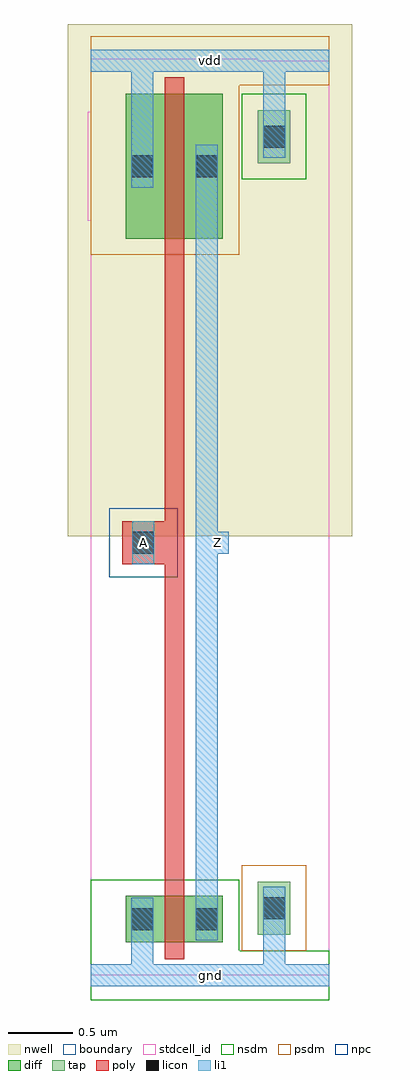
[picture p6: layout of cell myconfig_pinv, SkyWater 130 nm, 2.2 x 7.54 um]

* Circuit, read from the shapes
.subckt myconfig_pinv A Z gnd vdd
XM1 Z A gnd gnd sky130_fd_pr__nfet_01v8 w=0.36 l=0.15
XM2 Z A vdd vdd sky130_fd_pr__pfet_01v8 w=1.12 l=0.15
.ends

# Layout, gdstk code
import gdstk
lib = gdstk.Library(unit=1e-6, precision=1e-09)
def R(c, l, rs):  # rectangles x0, y0, x1, y1
    for r in rs: c.add(gdstk.rectangle(r[:2], r[2:], *l))
nwell = (64, 20)
diff = (65, 20)
tap = (65, 44)
poly = (66, 20)
licon = (66, 44)
li1 = (67, 20)
stdcell_id = (81, 4)
nsdm = (93, 44)
psdm = (94, 20)
npc = (95, 20)
boundary = (235, 4)

myconfig_contact_11 = lib.new_cell('myconfig_contact_11')
R(myconfig_contact_11, nwell, [(-0.295,-0.255,0.545,0.585)])
R(myconfig_contact_11, diff, [(0,0.02,0.25,0.31)])
R(myconfig_contact_11, licon, [(0.04,0.08,0.21,0.25)])
R(myconfig_contact_11, li1, [(0.04,0,0.21,0.33)])
R(myconfig_contact_11, stdcell_id, [(-0.295,-0.255,0.545,0.585)])
R(myconfig_contact_11, psdm, [(-0.125,-0.105,0.375,0.435)])
R(myconfig_contact_11, boundary, [(-0.295,-0.255,0.545,0.585)])

myconfig_pmos_m1_w1_120_ = lib.new_cell('myconfig_pmos_m1_w1_120_sli_dli_da_p')
R(myconfig_pmos_m1_w1_120_, nwell, [(-0.27,-0.27,1.02,1.39)])
R(myconfig_pmos_m1_w1_120_, diff, [(0,0,0.75,1.12)])
R(myconfig_pmos_m1_w1_120_, poly, [(0.3,-0.13,0.45,1.25), (0.3,-0.13,0.45,1.25)])
R(myconfig_pmos_m1_w1_120_, li1, [(0.04,0.395,0.21,0.725), (0.54,0.395,0.71,0.725)])
R(myconfig_pmos_m1_w1_120_, stdcell_id, [(-0.27,-0.27,1.02,1.39)])
R(myconfig_pmos_m1_w1_120_, psdm, [(-0.125,-0.125,0.875,1.245)])
R(myconfig_pmos_m1_w1_120_, boundary, [(-0.27,-0.27,1.02,1.39)])
myconfig_pmos_m1_w1_120_.add(gdstk.Reference(myconfig_contact_11, (0,0.395)))
myconfig_pmos_m1_w1_120_.add(gdstk.Reference(myconfig_contact_11, (0.5,0.395)))
myconfig_pmos_m1_w1_120_.add(gdstk.Label('G', (0.375,0.56), layer=66, texttype=5))
myconfig_pmos_m1_w1_120_.add(gdstk.Label('S', (0.125,0.56), layer=67, texttype=5))
myconfig_pmos_m1_w1_120_.add(gdstk.Label('D', (0.625,0.56), layer=67, texttype=5))

myconfig_contact_10 = lib.new_cell('myconfig_contact_10')
R(myconfig_contact_10, diff, [(0,0.02,0.25,0.31)])
R(myconfig_contact_10, licon, [(0.04,0.08,0.21,0.25)])
R(myconfig_contact_10, li1, [(0.04,0,0.21,0.33)])
R(myconfig_contact_10, stdcell_id, [(-0.125,-0.105,0.375,0.435)])
R(myconfig_contact_10, nsdm, [(-0.125,-0.105,0.375,0.435)])
R(myconfig_contact_10, boundary, [(-0.125,-0.105,0.375,0.435)])

myconfig_nmos_m1_w0_360_ = lib.new_cell('myconfig_nmos_m1_w0_360_sli_dli_da_p')
R(myconfig_nmos_m1_w0_360_, diff, [(0,0,0.75,0.36)])
R(myconfig_nmos_m1_w0_360_, poly, [(0.3,-0.13,0.45,0.49), (0.3,-0.13,0.45,0.49)])
R(myconfig_nmos_m1_w0_360_, li1, [(0.04,0.015,0.21,0.345), (0.54,0.015,0.71,0.345)])
R(myconfig_nmos_m1_w0_360_, stdcell_id, [(-0.125,-0.13,0.875,0.49)])
R(myconfig_nmos_m1_w0_360_, nsdm, [(-0.125,-0.125,0.875,0.485)])
R(myconfig_nmos_m1_w0_360_, boundary, [(-0.125,-0.13,0.875,0.49)])
myconfig_nmos_m1_w0_360_.add(gdstk.Reference(myconfig_contact_10, (0,0.015)))
myconfig_nmos_m1_w0_360_.add(gdstk.Reference(myconfig_contact_10, (0.5,0.015)))
myconfig_nmos_m1_w0_360_.add(gdstk.Label('G', (0.375,0.18), layer=66, texttype=5))
myconfig_nmos_m1_w0_360_.add(gdstk.Label('S', (0.125,0.18), layer=67, texttype=5))
myconfig_nmos_m1_w0_360_.add(gdstk.Label('D', (0.625,0.18), layer=67, texttype=5))

myconfig_contact_28 = lib.new_cell('myconfig_contact_28')
R(myconfig_contact_28, nwell, [(-0.295,-0.215,0.545,0.625)])
R(myconfig_contact_28, tap, [(0,0,0.25,0.41)])
R(myconfig_contact_28, licon, [(0.04,0.12,0.21,0.29)])
R(myconfig_contact_28, li1, [(0.04,0.04,0.21,0.37)])
R(myconfig_contact_28, stdcell_id, [(-0.295,-0.215,0.545,0.625)])
R(myconfig_contact_28, nsdm, [(-0.125,-0.125,0.375,0.535)])
R(myconfig_contact_28, boundary, [(-0.295,-0.215,0.545,0.625)])

myconfig_contact_29 = lib.new_cell('myconfig_contact_29')
R(myconfig_contact_29, tap, [(0,0,0.25,0.41)])
R(myconfig_contact_29, licon, [(0.04,0.12,0.21,0.29)])
R(myconfig_contact_29, li1, [(0.04,0.04,0.21,0.37)])
R(myconfig_contact_29, stdcell_id, [(-0.125,-0.125,0.375,0.535)])
R(myconfig_contact_29, psdm, [(-0.125,-0.125,0.375,0.535)])
R(myconfig_contact_29, boundary, [(-0.125,-0.125,0.375,0.535)])

myconfig_contact_15 = lib.new_cell('myconfig_contact_15')
R(myconfig_contact_15, poly, [(0,0,0.33,0.33)])
R(myconfig_contact_15, licon, [(0.08,0.08,0.25,0.25)])
R(myconfig_contact_15, li1, [(0.08,0,0.25,0.33)])
R(myconfig_contact_15, stdcell_id, [(-0.1,-0.1,0.43,0.43)])
R(myconfig_contact_15, npc, [(-0.1,-0.1,0.43,0.43)])
R(myconfig_contact_15, boundary, [(-0.1,-0.1,0.43,0.43)])

myconfig_pinv = lib.new_cell('myconfig_pinv')
R(myconfig_pinv, nwell, [(-0.18,3.395,2.02,7.355)])
R(myconfig_pinv, poly, [(0.57,0.745,0.72,5.565), (0.405,3.18,0.57,3.51)])
R(myconfig_pinv, li1, [(0,-0.085,1.84,0.085), (0.31,-0.085,0.48,0.27), (1.33,0,1.5,0.52), (0.81,0.27,0.98,6.42), (0.32,3.18,0.49,3.51), (0.895,3.26,1.065,3.43), (0.31,6.09,0.48,7.155), (1.33,6.485,1.5,7.07), (0,6.985,1.84,7.155)])
R(myconfig_pinv, stdcell_id, [(0,0,1.84,7.07), (0,0,1.84,7.07)])
R(myconfig_pinv, nsdm, [(0,-0.19,1.84,0.19), (0,0,1.145,0.74)])
R(myconfig_pinv, psdm, [(0,5.57,1.145,7.07), (0,6.88,1.84,7.26)])
R(myconfig_pinv, boundary, [(0,0,1.84,7.07), (0,0,1.84,7.07)])
myconfig_pinv.add(gdstk.Reference(myconfig_pmos_m1_w1_120_, (0.27,5.695)))
myconfig_pinv.add(gdstk.Reference(myconfig_nmos_m1_w0_360_, (0.27,0.255)))
myconfig_pinv.add(gdstk.Reference(myconfig_contact_28, (1.29,6.28)))
myconfig_pinv.add(gdstk.Reference(myconfig_contact_29, (1.29,0.315)))
myconfig_pinv.add(gdstk.Reference(myconfig_contact_15, (0.24,3.18)))
myconfig_pinv.add(gdstk.Label('A', (0.405,3.345), layer=67, texttype=5))
myconfig_pinv.add(gdstk.Label('Z', (0.98,3.345), layer=67, texttype=5))
myconfig_pinv.add(gdstk.Label('gnd', (0.92,0), layer=67, texttype=5))
myconfig_pinv.add(gdstk.Label('vdd', (0.92,7.07), layer=67, texttype=5))

lib.write_gds('myconfig_pinv.gds')
